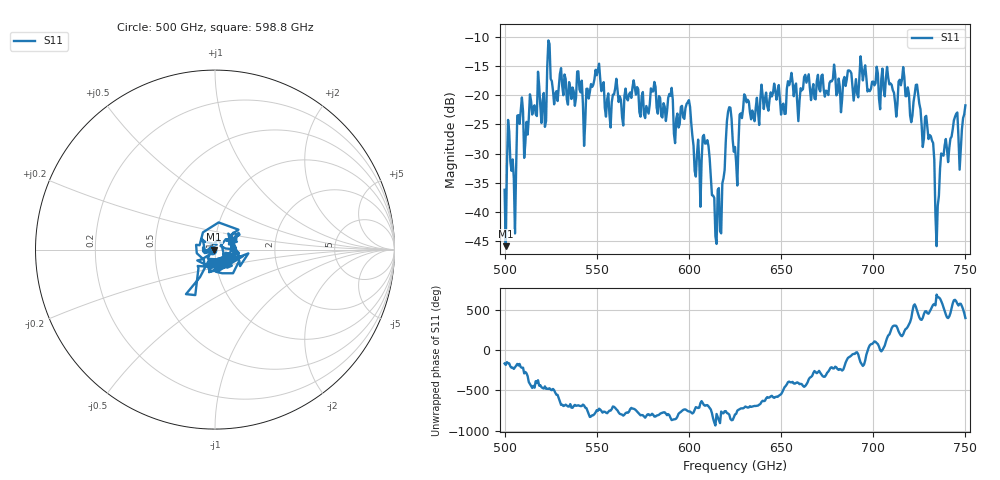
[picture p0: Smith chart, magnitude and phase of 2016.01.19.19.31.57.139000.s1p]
!Created with skrf (http://scikit-rf.org).
# GHz S RI R 50.0
!freq ReS11 ImS11
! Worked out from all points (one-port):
!   401 points, 500 GHz to 750 GHz, reference 50 ohm
!   lowest |S11| = -45.9 dB at 500.6 GHz (marker M1), VSWR 1.01, Z = 49.5 + j0.0277 ohm
!   |S11| at or under -10 dB: start of sweep to end of sweep
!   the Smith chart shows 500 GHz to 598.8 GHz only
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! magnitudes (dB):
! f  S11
! 500 GHz  -36.2
! 500.6 GHz  -45.9
! 503.1 GHz  -31.4
! 505 GHz  -34.3
! 508.1 GHz  -24.9
! 511.9 GHz  -24.6
! 521.2 GHz  -19.6
! 524.4 GHz  -11.2
! 527.5 GHz  -19.7
! 531.2 GHz  -18.4
! 562.5 GHz  -20.2
! 590 GHz  -20.1
! 593.8 GHz  -23.1
! 599.4 GHz  -21.2
! 605 GHz  -27.6
! 609.4 GHz  -28.3
! 615.6 GHz  -36.2
! 621.9 GHz  -22.0
! 625 GHz  -28.9
! 631.2 GHz  -21.2
! 651.2 GHz  -21.4
! 656.2 GHz  -17.7
! 687.5 GHz  -15.8
! 718.8 GHz  -18.6
! 731.9 GHz  -27.8
! 735 GHz  -39.0
! 738.1 GHz  -30.4
! 750 GHz  -21.7
